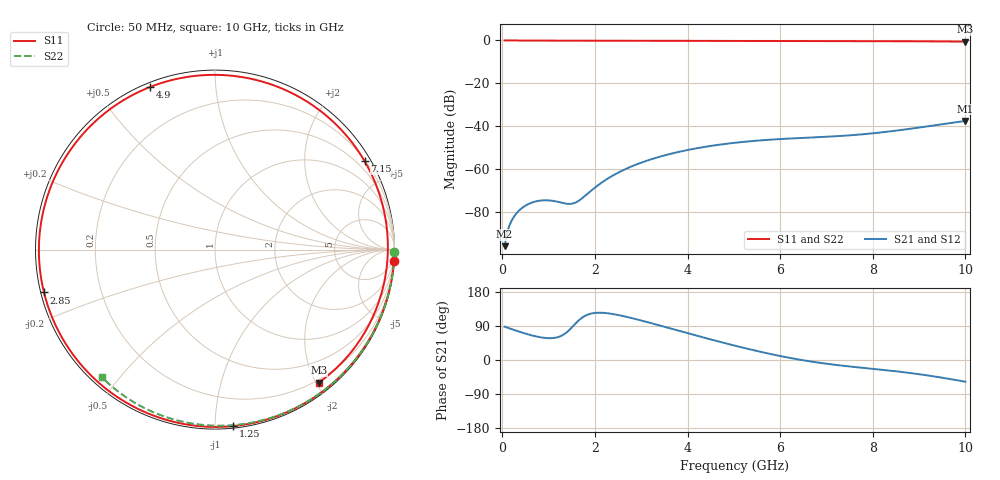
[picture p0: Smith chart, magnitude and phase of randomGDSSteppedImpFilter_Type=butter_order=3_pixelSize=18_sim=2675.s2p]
! freq	dB(S11)	phase(S11)	dB(S12)	phase(S12)
!  dB(S21)	phase(S21)	dB(S22)	phase(S22)
!S-par simulation data
#  GHz  S  DB  R 50
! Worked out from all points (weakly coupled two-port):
!   200 points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, 50 MHz to 10 GHz, reference 50 ohm
!   highest |S21| = -37.58 dB at 10 GHz (marker M1); lowest = -96.1 dB at 50 MHz (marker M2)
!   lowest |S11| = -0.5 dB at 10 GHz (marker M3), VSWR 32.18, Z = 8.05 - j102 ohm
!   |S11| at or under -10 dB: nowhere
!   |S22| runs from -0.4 to 0.0 dB; largest |S21 - S12| = 0
!   S11 on the Smith chart (normalised r, x): 50 MHz: 0, -32; 1.25 GHz: 0.01, -1.11; 2.85 GHz: 0.01, -0.12; 4.9 GHz: 0.02, +0.68; 7.15 GHz: 0.23, +3.65; 10 GHz: 0.16, -2.04
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0.05  -0.00 -3.6  -96.10 87.9  -96.10 87.9  -0.00 -0.8
0.35  -0.04 -24.9  -79.71 75.4  -79.71 75.4  -0.01 -5.3
0.5  -0.05 -35.3  -77.17 69.6  -77.17 69.6  -0.01 -7.6
0.7  -0.06 -49.0  -75.33 63.0  -75.33 63.0  -0.01 -10.6
0.95  -0.08 -65.4  -74.66 57.9  -74.66 57.9  -0.02 -14.3
1.25  -0.10 -84.1  -75.63 62.5  -75.63 62.5  -0.02 -18.8
1.5  -0.11 -98.7  -76.27 85.7  -76.27 85.7  -0.03 -22.5
1.75  -0.12 -112.6  -73.26 113.9  -73.26 113.9  -0.03 -26.2
2.3  -0.14 -140.6  -64.22 122.9  -64.22 122.9  -0.04 -34.2
2.85  -0.16 -165.9  -58.33 109.0  -58.33 109.0  -0.05 -42.1
3.4  -0.17 170.6  -54.30 91.1  -54.30 91.1  -0.07 -49.9
4.1  -0.19 142.5  -50.75 67.5  -50.75 67.5  -0.08 -59.5
4.9  -0.22 111.7  -48.10 41.6  -48.10 41.6  -0.11 -70.2
5.05  -0.22 106.0  -47.73 36.9  -47.73 36.9  -0.11 -72.2
5.45  -0.23 91.0  -46.90 25.1  -46.90 25.1  -0.12 -77.4
5.85  -0.24 76.3  -46.26 14.3  -46.26 14.3  -0.14 -82.5
6.7  -0.27 45.9  -45.31 -4.7  -45.31 -4.7  -0.18 -93.1
7.15  -0.28 30.5  -44.81 -12.2  -44.81 -12.2  -0.20 -98.5
7.75  -0.31 10.9  -43.89 -20.2  -43.89 -20.2  -0.24 -105.6
8.35  -0.34 -7.5  -42.54 -27.7  -42.54 -27.7  -0.29 -112.6
9.2  -0.42 -31.6  -40.07 -41.0  -40.07 -41.0  -0.36 -122.4
10  -0.54 -52.0  -37.58 -57.3  -37.58 -57.3  -0.45 -131.4
